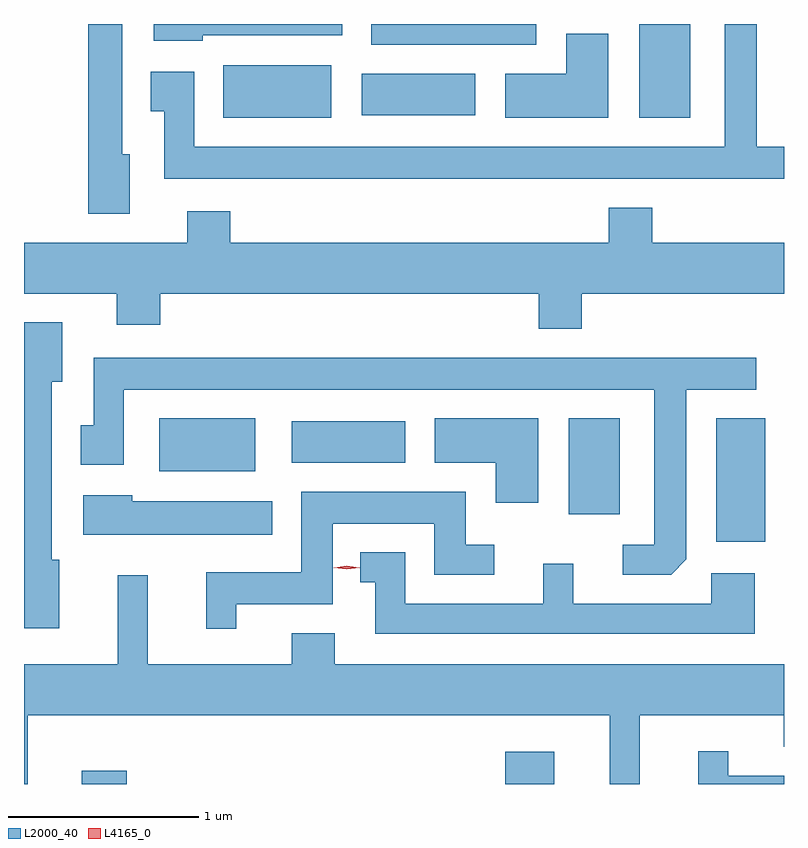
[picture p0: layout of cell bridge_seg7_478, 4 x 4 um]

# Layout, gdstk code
import gdstk
lib = gdstk.Library(unit=1e-6, precision=1e-09)
def R(c, l, rs):  # rectangles x0, y0, x1, y1
    for r in rs: c.add(gdstk.rectangle(r[:2], r[2:], *l))
def P(c, l, *ps):  # polygons
    for p in ps: c.add(gdstk.Polygon(p, *l))
L2000_40 = (2000, 40)
L4165_0 = (4165, 0)

bridge_seg7_478 = lib.new_cell('bridge_seg7_478')
R(bridge_seg7_478, L2000_40, [(1447.356,1727.275,1447.594,1727.344), (1449.586,1727.275,1449.844,1727.444), (1450.696,1728.551,1450.954,1729.199), (1449.921,1728.696,1450.189,1729.199), (1447.766,1728.921,1448.269,1729.199), (1448.461,1728.966,1449.059,1729.184), (1448.101,1730.781,1448.669,1731.059), (1450.291,1730.781,1450.559,1731.275), (1448.831,1730.796,1449.429,1731.014), (1448.881,1731.166,1449.749,1731.275)])
P(bridge_seg7_478, L2000_40, [(1447.609,1730.589),(1447.569,1730.589),(1447.569,1731.275),(1447.391,1731.275),(1447.391,1730.276),(1447.609,1730.276)],
  [(1447.994,1731.216),(1448.729,1731.216),(1448.729,1731.275),(1447.736,1731.275),(1447.736,1731.186),(1447.994,1731.186)],
  [(1451.053,1730.629),(1450.909,1730.629),(1450.909,1731.275),(1450.741,1731.275),(1450.741,1730.629),(1447.949,1730.629),(1447.949,1731.024),(1447.721,1731.024),(1447.721,1730.816),(1447.791,1730.816),(1447.791,1730.461),(1451.053,1730.461)],
  [(1450.129,1731.224),(1449.906,1731.224),(1449.906,1731.014),(1449.586,1731.014),(1449.586,1730.781),(1450.129,1730.781)],
  [(1449.989,1729.856),(1451.053,1729.856),(1451.053,1730.124),(1450.359,1730.124),(1450.359,1730.309),(1450.131,1730.309),(1450.131,1730.124),(1448.139,1730.124),(1448.139,1730.289),(1447.911,1730.289),(1447.911,1730.124),(1447.053,1730.124),(1447.053,1729.856),(1447.541,1729.856),(1447.541,1729.691),(1447.769,1729.691),(1447.769,1729.856),(1449.761,1729.856),(1449.761,1729.671),(1449.989,1729.671)],
  [(1447.239,1728.454),(1447.199,1728.454),(1447.199,1729.391),(1447.254,1729.391),(1447.254,1729.704),(1447.053,1729.704),(1447.053,1728.096),(1447.239,1728.096)],
  [(1450.539,1728.457),(1450.539,1729.351),(1450.908,1729.351),(1450.908,1729.519),(1447.421,1729.519),(1447.421,1729.164),(1447.351,1729.164),(1447.351,1728.956),(1447.579,1728.956),(1447.579,1729.351),(1450.371,1729.351),(1450.371,1728.534),(1450.203,1728.534),(1450.203,1728.376),(1450.459,1728.376)],
  [(1449.759,1729.199),(1449.216,1729.199),(1449.216,1728.966),(1449.536,1728.966),(1449.536,1728.756),(1449.759,1728.756)],
  [(1448.169,1728.221),(1448.679,1728.221),(1448.679,1728.646),(1449.211,1728.646),(1449.211,1728.376),(1449.528,1728.376),(1449.528,1728.534),(1449.379,1728.534),(1449.379,1728.814),(1448.511,1728.814),(1448.511,1728.389),(1448.011,1728.389),(1448.011,1728.093),(1448.169,1728.093)],
  [(1448.359,1728.764),(1447.624,1728.764),(1447.624,1728.794),(1447.366,1728.794),(1447.366,1728.586),(1448.359,1728.586)],
  [(1450.899,1728.384),(1450.671,1728.384),(1450.671,1728.224),(1449.944,1728.224),(1449.944,1728.433),(1449.786,1728.433),(1449.786,1728.224),(1449.059,1728.224),(1449.059,1728.494),(1448.823,1728.494),(1448.823,1728.336),(1448.901,1728.336),(1448.901,1728.066),(1450.899,1728.066)],
  [(1447.074,1727.636),(1450.136,1727.636),(1450.136,1727.275),(1450.294,1727.275),(1450.294,1727.636),(1451.051,1727.636),(1451.051,1727.471),(1451.053,1727.471),(1451.053,1727.904),(1448.689,1727.904),(1448.689,1728.069),(1448.461,1728.069),(1448.461,1727.904),(1447.704,1727.904),(1447.704,1728.373),(1447.546,1728.373),(1447.546,1727.904),(1447.053,1727.904),(1447.053,1727.275),(1447.074,1727.275)],
  [(1451.053,1727.319),(1450.759,1727.319),(1450.759,1727.448),(1450.601,1727.448),(1450.601,1727.275),(1451.053,1727.275)])
P(bridge_seg7_478, L4165_0, [(1448.752,1728.404),(1448.682,1728.413),(1448.682,1728.414),(1448.682,1728.414),(1448.752,1728.424),(1448.821,1728.414),(1448.821,1728.414),(1448.821,1728.413)])

lib.write_gds('bridge_seg7_478.gds')
